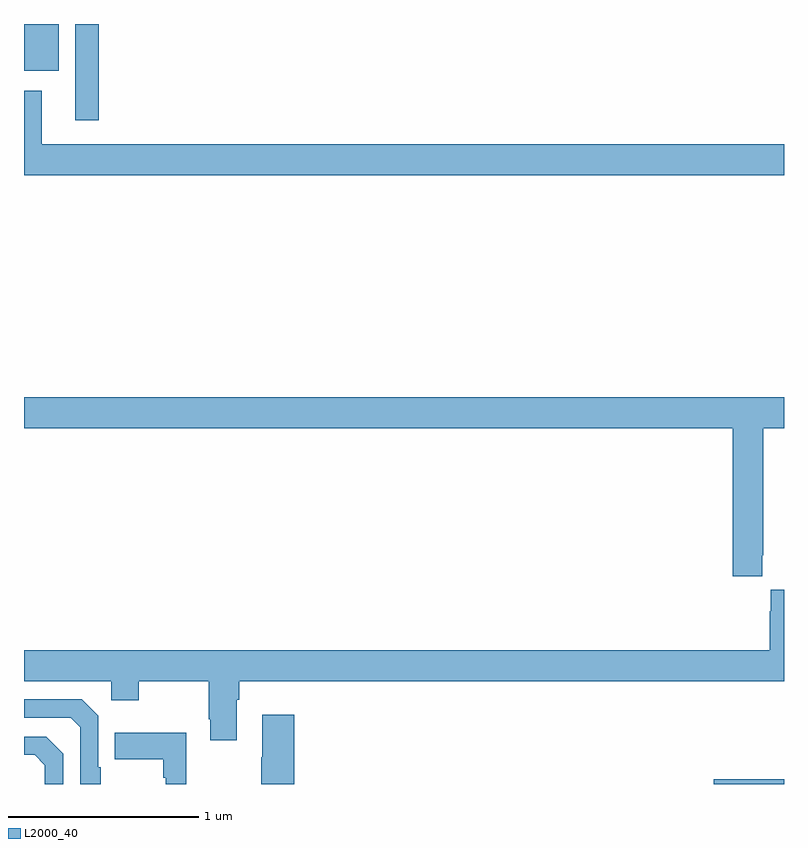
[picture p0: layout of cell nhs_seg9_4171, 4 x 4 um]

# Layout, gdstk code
import gdstk
lib = gdstk.Library(unit=1e-6, precision=1e-09)
def R(c, l, rs):  # rectangles x0, y0, x1, y1
    for r in rs: c.add(gdstk.rectangle(r[:2], r[2:], *l))
def P(c, l, *ps):  # polygons
    for p in ps: c.add(gdstk.Polygon(p, *l))
L2000_40 = (2000, 40)

nhs_seg9_4171 = lib.new_cell('nhs_seg9_4171')
R(nhs_seg9_4171, L2000_40, [(352.631,1242.5,353,1242.524), (349.271,1245.993,349.393,1246.5), (349,1246.253,349.183,1246.5)])
P(nhs_seg9_4171, L2000_40, [(353,1245.868),(349.093,1245.868),(349.093,1246.15),(349,1246.15),(349,1245.704),(353,1245.704)],
  [(352.885,1243.705),(352.89,1243.705),(352.89,1244.372),(353,1244.372),(353,1244.536),(349,1244.536),(349,1244.372),(352.73,1244.372),(352.73,1243.593),(352.885,1243.593)],
  [(350.119,1242.944),(350.132,1242.944),(350.132,1243.04),(353,1243.04),(353,1243.522),(352.931,1243.522),(352.931,1243.409),(352.925,1243.409),(352.925,1243.204),(349,1243.204),(349,1243.04),(349.458,1243.04),(349.458,1242.941),(349.605,1242.941),(349.605,1243.04),(349.972,1243.04),(349.972,1242.841),(349.979,1242.841),(349.979,1242.729),(350.119,1242.729)],
  [(349.405,1242.589),(349.392,1242.589),(349.392,1242.858),(349.305,1242.945),(349,1242.945),(349,1242.849),(349.245,1242.849),(349.296,1242.798),(349.296,1242.5),(349.405,1242.5)],
  [(350.423,1242.865),(350.255,1242.865),(350.255,1242.641),(350.248,1242.641),(350.248,1242.5),(350.423,1242.5)],
  [(349.855,1242.769),(349.477,1242.769),(349.477,1242.629),(349.734,1242.629),(349.734,1242.533),(349.746,1242.533),(349.746,1242.5),(349.855,1242.5)],
  [(349.206,1242.66),(349.116,1242.75),(349,1242.75),(349,1242.653),(349.057,1242.653),(349.11,1242.6),(349.11,1242.5),(349.206,1242.5)])

lib.write_gds('nhs_seg9_4171.gds')
